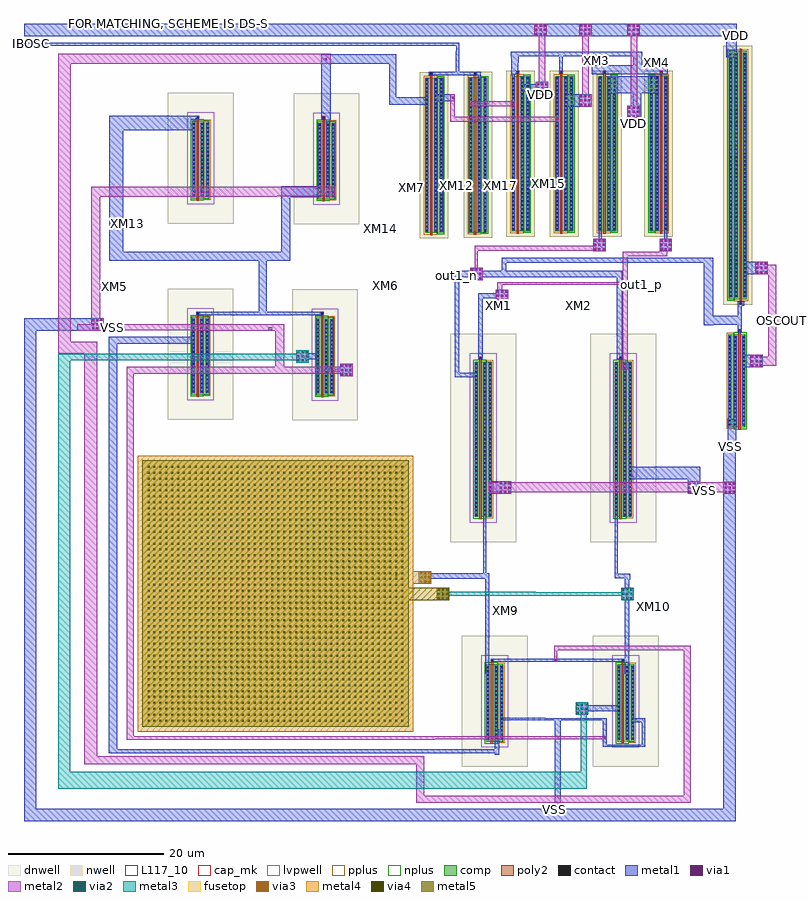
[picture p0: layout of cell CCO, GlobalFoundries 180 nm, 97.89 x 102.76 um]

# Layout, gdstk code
from math import pi, radians
import gdstk
lib = gdstk.Library(unit=1e-6, precision=1e-09)
def R(c, l, rs):  # rectangles x0, y0, x1, y1
    for r in rs: c.add(gdstk.rectangle(r[:2], r[2:], *l))
def A(c, l, x, y, w, h, nx, ny, dx, dy):  # array of equal rectangles
    R(c, l, [(x+i*dx, y+j*dy, x+i*dx+w, y+j*dy+h) for i in range(nx) for j in range(ny)])
def P(c, l, *ps):  # polygons
    for p in ps: c.add(gdstk.Polygon(p, *l))
dnwell = (12, 0)
nwell = (21, 0)
comp = (22, 0)
poly2 = (30, 0)
pplus = (31, 0)
nplus = (32, 0)
contact = (33, 0)
metal1 = (34, 0)
via1 = (35, 0)
metal2 = (36, 0)
via2 = (38, 0)
via3 = (40, 0)
via4 = (41, 0)
metal3 = (42, 0)
metal4 = (46, 0)
fusetop = (75, 0)
metal5 = (81, 0)
cap_mk = (117, 5)
L117_10 = (117, 10)
lvpwell = (204, 0)

pfet = lib.new_cell('pfet')
R(pfet, nwell, [(-1.15,-0.69,2.54,20.69)])
R(pfet, comp, [(-0.46,0,0,20), (0,0,0.66,20), (0.66,0,1.12,20), (1.12,0,1.85,20)])
R(pfet, poly2, [(0.19,-0.3,0.47,20.3), (0.14,20.3,0.52,20.68)])
R(pfet, pplus, [(-0.63,-0.24,1.12,20.24)])
R(pfet, nplus, [(1.12,-0.17,2.02,20.17)])
A(pfet, contact, -0.34, 0.2, 0.22, 0.22, 1, 39, 0, 0.51)
A(pfet, contact, 0.78, 0.2, 0.22, 0.22, 1, 39, 0, 0.51)
A(pfet, contact, 1.51, 0.2, 0.22, 0.22, 1, 39, 0, 0.51)
R(pfet, contact, [(0.22,20.38,0.44,20.6)])
R(pfet, metal1, [(-0.42,0.12,-0.04,19.88), (0.7,0.12,1.08,19.88), (1.43,0.12,1.81,19.88), (0.14,20.3,0.52,20.68)])

nfet_2 = lib.new_cell('nfet$2')
R(nfet_2, dnwell, [(-3.55,-3.26,4.92,23.63)])
R(nfet_2, comp, [(-0.42,0,0,20), (0,0,0.66,20), (0.66,0,1.08,20), (1.08,0,1.79,20)])
R(nfet_2, poly2, [(0.19,-0.3,0.47,20.3), (0.15,20.3,0.51,20.66)])
R(nfet_2, pplus, [(1.08,-0.17,1.96,20.17)])
R(nfet_2, nplus, [(-0.59,-0.24,1.08,20.24)])
A(nfet_2, contact, -0.32, 0.2, 0.22, 0.22, 1, 39, 0, 0.51)
A(nfet_2, contact, 0.76, 0.2, 0.22, 0.22, 1, 39, 0, 0.51)
A(nfet_2, contact, 1.47, 0.2, 0.22, 0.22, 1, 39, 0, 0.51)
R(nfet_2, contact, [(0.22,20.37,0.44,20.59)])
R(nfet_2, metal1, [(-0.4,0.12,-0.02,19.88), (0.68,0.12,1.06,19.88), (1.39,0.12,1.77,19.88), (0.14,20.29,0.52,20.67)])
R(nfet_2, lvpwell, [(-1.04,-0.75,2.41,21.12)])

nfet_3 = lib.new_cell('nfet$3')
R(nfet_3, dnwell, [(-3.55,-3.26,4.92,13.63)])
R(nfet_3, comp, [(-0.42,0,0,10), (0,0,0.66,10), (0.66,0,1.08,10), (1.08,0,1.79,10)])
R(nfet_3, poly2, [(0.19,-0.3,0.47,10.3), (0.15,10.3,0.51,10.66)])
R(nfet_3, pplus, [(1.08,-0.17,1.96,10.17)])
R(nfet_3, nplus, [(-0.59,-0.24,1.08,10.24)])
A(nfet_3, contact, -0.32, 0.3, 0.22, 0.22, 1, 19, 0, 0.51)
A(nfet_3, contact, 0.76, 0.3, 0.22, 0.22, 1, 19, 0, 0.51)
A(nfet_3, contact, 1.47, 0.3, 0.22, 0.22, 1, 19, 0, 0.51)
R(nfet_3, contact, [(0.22,10.37,0.44,10.59)])
R(nfet_3, metal1, [(-0.4,0.22,-0.02,9.78), (0.68,0.22,1.06,9.78), (1.39,0.22,1.77,9.78), (0.14,10.29,0.52,10.67)])
R(nfet_3, lvpwell, [(-1.04,-0.75,2.41,11.12)])

text = lib.new_cell('TEXT')

cap_mim = lib.new_cell('cap_mim')
A(cap_mim, via4, 0.69, 0.69, 0.26, 0.26, 44, 44, 0.76, 0.76)
R(cap_mim, metal4, [(-0.6,-0.6,34.92,34.92)])
R(cap_mim, fusetop, [(0,0,34.32,34.32)])
R(cap_mim, metal5, [(0,0,34.32,34.32)])
R(cap_mim, cap_mk, [(-0.6,-0.6,34.92,34.92)])
R(cap_mim, L117_10, [(0,0,34.32,0.1)])

pfet_2 = lib.new_cell('pfet$2')
R(pfet_2, nwell, [(-1.15,-0.69,2.54,32.69)])
R(pfet_2, comp, [(-0.46,0,0,32), (0,0,0.66,32), (0.66,0,1.12,32), (1.12,0,1.85,32)])
R(pfet_2, poly2, [(0.19,-0.3,0.47,32.3), (0.14,32.3,0.52,32.68)])
R(pfet_2, pplus, [(-0.63,-0.24,1.12,32.24)])
R(pfet_2, nplus, [(1.12,-0.17,2.02,32.17)])
A(pfet_2, contact, -0.34, 0.335, 0.22, 0.22, 1, 62, 0, 0.51)
A(pfet_2, contact, 0.78, 0.335, 0.22, 0.22, 1, 62, 0, 0.51)
A(pfet_2, contact, 1.51, 0.335, 0.22, 0.22, 1, 62, 0, 0.51)
R(pfet_2, contact, [(0.22,32.38,0.44,32.6)])
R(pfet_2, metal1, [(-0.42,0.255,-0.04,31.745), (0.7,0.255,1.08,31.745), (1.43,0.255,1.81,31.745), (0.14,32.3,0.52,32.68)])

nfet = lib.new_cell('nfet')
R(nfet, comp, [(-0.42,0,0,12), (0,0,0.66,12), (0.66,0,1.08,12), (1.08,0,1.79,12)])
R(nfet, poly2, [(0.15,-0.66,0.51,-0.3), (0.19,-0.3,0.47,12.3)])
R(nfet, pplus, [(1.08,-0.17,1.96,12.17)])
R(nfet, nplus, [(-0.59,-0.24,1.08,12.24)])
A(nfet, contact, -0.32, 0.28, 0.22, 0.22, 1, 23, 0, 0.51)
A(nfet, contact, 0.76, 0.28, 0.22, 0.22, 1, 23, 0, 0.51)
A(nfet, contact, 1.47, 0.28, 0.22, 0.22, 1, 23, 0, 0.51)
R(nfet, contact, [(0.22,-0.59,0.44,-0.37)])
R(nfet, metal1, [(0.14,-0.67,0.52,-0.29), (-0.4,0.2,-0.02,11.8), (0.68,0.2,1.06,11.8), (1.39,0.2,1.77,11.8)])

via_dev = lib.new_cell('via_dev')
R(via_dev, metal1, [(0,0,1.6,1.6)])
A(via_dev, via1, 0.14, 0.14, 0.26, 0.26, 3, 3, 0.53, 0.53)
R(via_dev, metal2, [(0,0,1.6,1.6)])
A(via_dev, via2, 0.14, 0.14, 0.26, 0.26, 3, 3, 0.53, 0.53)
A(via_dev, via3, 0.14, 0.14, 0.26, 0.26, 3, 3, 0.53, 0.53)
R(via_dev, metal3, [(0,0,1.6,1.6)])
R(via_dev, metal4, [(0,0,1.6,1.6)])

via_dev_2 = lib.new_cell('via_dev$2')
A(via_dev_2, via3, 0.14, 0.14, 0.26, 0.26, 3, 3, 0.53, 0.53)
A(via_dev_2, via4, 0.14, 0.14, 0.26, 0.26, 3, 3, 0.53, 0.53)
R(via_dev_2, metal3, [(0,0,1.6,1.6)])
R(via_dev_2, metal4, [(0,0,1.6,1.6)])
R(via_dev_2, metal5, [(0,0,1.6,1.6)])

via_dev_4 = lib.new_cell('via_dev$4')
R(via_dev_4, metal1, [(0,0,1.6,1.6)])
A(via_dev_4, via1, 0.14, 0.14, 0.26, 0.26, 3, 3, 0.53, 0.53)
R(via_dev_4, metal2, [(0,0,1.6,1.6)])

via_dev_5 = lib.new_cell('via_dev$5')
R(via_dev_5, metal1, [(0,0,1.6,1.6)])
A(via_dev_5, via1, 0.14, 0.14, 0.26, 0.26, 3, 3, 0.53, 0.53)
R(via_dev_5, metal2, [(0,0,1.6,1.6)])
A(via_dev_5, via2, 0.14, 0.14, 0.26, 0.26, 3, 3, 0.53, 0.53)
R(via_dev_5, metal3, [(0,0,1.6,1.6)])

pfet_3 = lib.new_cell('pfet$3')
R(pfet_3, nwell, [(-1.15,-0.69,2.54,20.69)])
R(pfet_3, comp, [(-0.46,0,0,20), (0,0,0.66,20), (0.66,0,1.12,20), (1.12,0,1.85,20)])
R(pfet_3, poly2, [(0.14,-0.68,0.52,-0.3), (0.19,-0.3,0.47,20.3)])
R(pfet_3, pplus, [(-0.63,-0.24,1.12,20.24)])
R(pfet_3, nplus, [(1.12,-0.17,2.02,20.17)])
A(pfet_3, contact, -0.34, 0.2, 0.22, 0.22, 1, 39, 0, 0.51)
A(pfet_3, contact, 0.78, 0.2, 0.22, 0.22, 1, 39, 0, 0.51)
A(pfet_3, contact, 1.51, 0.2, 0.22, 0.22, 1, 39, 0, 0.51)
R(pfet_3, contact, [(0.22,-0.6,0.44,-0.38)])
R(pfet_3, metal1, [(0.14,-0.68,0.52,-0.3), (-0.42,0.12,-0.04,19.88), (0.7,0.12,1.08,19.88), (1.43,0.12,1.81,19.88)])

cco = lib.new_cell('CCO')
R(cco, comp, [(-6.03,9.55,-5.51,9.91)])
R(cco, metal1, [(30.9,-52.23,31.64,-40.45), (23.16,-45.12,23.73,-41.83), (-26.55,-44.95,-23.39,-44.43), (-26.55,-44.95,-25.5,-22.32), (-24.18,-44.95,8.85,-44.43), (6.64,-44.95,23.73,-44.43), (37.07,-44.13,37.56,-40.45), (37.07,-44.13,42.52,-43.84), (42.07,-44.13,42.52,-40.46), (40.72,-40.93,42.52,-40.46), (23.87,-40.67,29.69,-40.4), (29.47,-40.67,30.5,-40.45), (30.28,-40.67,33,-40.45), (32.49,-40.67,37.56,-40.45), (39.92,-34.7,40.49,-22.37), (21.955,-34.61,22.46,-22.06), (22.62,-33.16,39.85,-32.78), (-26.55,-24.33,-25.5,8.72), (40.03,-22.6,40.58,-21.85), (13.72,-22.45,22.46,-21.76), (21.67,-22.45,22.46,-21.76), (38.63,-22.37,40.58,-21.85), (38.63,-22.35,39.01,-13.31), (21.67,-22.06,22.06,-13.53), (53.14,-5.83,54.25,-1.87), (38.87,5.78,39.55,12.37), (-26.55,7.79,-15.65,8.72), (54.44,9.2,54.97,13.28), (50.085,10.18,51.29,18.87), (50.085,10.28,54.97,11.43), (-15.3,11.48,1.12,11.93), (-7.22,11.48,-6.21,18.79), (38.87,11.81,39.55,17.18), (54.44,12.72,55.27,13.28), (18.01,16.4,39.55,17.18), (24.04,16.4,24.65,18.87), (24.345,17.635,24.65,18.87), (24.04,18.25,51.29,18.87), (-7.39,18.51,-3.16,19.64), (-4.35,18.51,-3.16,28.08), (-26.5,18.52,-24.7,37.17), (-26.48,18.52,-6.49,19.64), (-7.5,18.52,-6.49,19.64), (-4.35,26.65,0.78,28.08), (-26.5,35.33,-23.42,37.17), (-24.88,35.33,-15.41,37.17), (0.81,36.65,2.05,45.09), (40.92,36.85,42.01,42.29), (9.56,38.56,14.6,39.55), (9.56,38.66,10.46,45.09), (15.34,39.06,18.01,39.92), (37.62,40.04,44.29,42.29), (26.49,40.32,29.48,41.2), (14.66,42.36,20.87,42.83), (18.14,42.36,18.58,45.48), (35.63,42.53,45.41,43.66), (40.98,42.53,42.13,45.43), (25.27,42.58,26.2,44.37), (31.44,42.59,31.93,45.43), (0.81,43.88,10.46,45.09), (25.26,44.02,26.24,45.43), (52.95,44.71,54.33,47.79), (25.19,44.81,41.4,45.43)])
P(cco, metal1, [(50.04,18.87),(50.04,18.87),(50.13,18.87),(50.13,18.87)])
R(cco, via1, [(37.24,-43.17,37.5,-42.91), (30.92,-33.105,31.18,-32.845), (10.36,-22.22,10.62,-21.96), (2.02,4.255,2.28,4.515), (20.65,4.54,20.91,4.8), (39.77,4.54,40.03,4.8), (-14.74,9.75,-14.48,10.01), (-14.05,9.75,-13.79,10.01), (36.6,25.5,36.86,25.76), (45.05,25.5,45.31,25.76), (-13.92,27.22,-13.66,27.48), (2.27,27.22,2.53,27.48), (-14.67,27.225,-14.41,27.485), (31.09,36.62,31.35,36.88), (19.97,38.575,20.23,38.835), (21.73,38.575,21.99,38.835), (25.4,38.6,25.66,38.86), (17.67,39.34,17.93,39.6), (1.23,44.31,1.49,44.57)])
R(cco, metal2, [(13.07,-51.31,48.38,-50.44), (13.07,-51.31,14.07,-45.32), (47.52,-51.31,48.38,-31.11), (-29.74,-46.36,0.9,-45.32), (-29.74,-46.36,-28.06,8.05), (-1.28,-46.36,14.07,-45.32), (-24.22,-43.23,-7.22,-42.75), (-24.22,-43.23,-23.33,-28.52), (-7.8,-43.23,15.38,-42.75), (14.39,-43.17,37.5,-42.75), (30.84,-33.16,31.235,-31.11), (30.84,-31.65,48.38,-31.11), (-24.22,-29.49,-23.33,-6.04), (22.38,-11.35,43.95,-10.04), (41.96,-11.35,53.49,-10.04), (-24.22,-6.98,-23.33,4.82), (-24.22,3.96,3.8,4.82), (-5.13,3.96,-3.99,10.34), (39.63,4.46,40.28,19.66), (56.08,5,59.39,6.13), (58.4,5,59.39,17.99), (-33.1,6.5,-28.06,8.05), (-33.1,6.5,-31.46,45.13), (-14.88,9.49,-4,10.34), (-30.64,9.5,-26,10.34), (-28.84,9.5,-27.66,28.01), (-28.84,9.5,-26,10.34), (-26.51,9.54,-14.38,10.34), (-14.88,9.76,-4,10.34), (58.4,10.54,60.41,11.495), (23.86,15.4,42.34,15.73), (20.58,16.41,20.97,20.43), (56.7,17.11,59.4,17.99), (39.63,19.07,45.37,19.66), (44.99,19.07,45.37,20.6), (20.58,19.81,37.14,20.43), (20.58,19.81,21.71,20.43), (-28.84,26.72,-22.63,28.01), (-23.25,26.72,-14.35,28.01), (-14.65,26.72,-4.9,28.01), (-5.8,26.78,2.59,28.01), (17.44,36.38,31.37,37.04), (17.44,36.41,18.01,39.92), (19.87,38.41,25.75,39.03), (-33.1,43.85,2.05,45.13)])
R(cco, metal3, [(-33.1,-49.49,-31.51,-12.77), (-33.1,-49.49,22.91,-47.31), (21.52,-49.49,35,-47.31), (34.22,-48.6,35,-39.28), (16.09,-24.68,28.45,-24.14), (27.89,-24.68,40.49,-24.195), (-33.1,-14.45,-31.51,6.5), (-33.1,4.57,-32.28,6.09), (-33.1,5.68,-1.59,6.5)])
cco.add(gdstk.FlexPath([(1.68,36),(1.68,37.8)], 0.4, ends="flush", simple_path=True, layer=34, datatype=0))  # metal1
cco.add(gdstk.FlexPath([(-14.9,37),(-15.93,37)], 0.4, ends="flush", simple_path=True, layer=34, datatype=0))  # metal1
cco.add(gdstk.FlexPath([(1.49,4.38),(4.01,4.38)], 0.4, ends="flush", simple_path=True, layer=34, datatype=0))  # metal1
cco.add(gdstk.FlexPath([(18.37,45.26),(18.37,46.4),(-37.47,46.4)], 0.4, ends="flush", simple_path=True, layer=34, datatype=0))  # metal1
cco.add(gdstk.FlexPath([(20.58,42.62),(21.18,42.62),(21.18,41.62)], 0.4, ends="flush", simple_path=True, layer=34, datatype=0))  # metal1
cco.add(gdstk.FlexPath([(25.55,41.94),(25.55,43.21)], 0.4, ends="flush", simple_path=True, layer=34, datatype=0))  # metal1
cco.add(gdstk.FlexPath([(22.57,-10.72),(24.18,-10.72)], 1.6, ends="flush", simple_path=True, layer=34, datatype=0))  # metal1
cco.add(gdstk.FlexPath([(21.32,5.78),(21.32,13.99),(24.33,13.99)], 0.6, ends="flush", simple_path=True, layer=34, datatype=0))  # metal1
cco.add(gdstk.FlexPath([(20.81,3.76),(18.31,3.76),(18.31,16.52)], 0.6, ends="flush", simple_path=True, layer=34, datatype=0))  # metal1
cco.add(gdstk.FlexPath([(39.12,-39.14),(34.37,-39.14)], 0.8, ends="flush", simple_path=True, layer=34, datatype=0))  # metal1
cco.add(gdstk.FlexPath([(-1.59,6.2),(0.4,6.2)], 0.8, ends="flush", simple_path=True, layer=34, datatype=0))  # metal1
cco.add(gdstk.FlexPath([(53.41,-5.44),(53.41,-52.92),(-36.68,-52.92),(-36.68,10.15)], 1.6, ends="flush", simple_path=True, layer=34, datatype=0))  # metal1
cco.add(gdstk.FlexPath([(-28.02,10.3),(-37.48,10.3)], 1.6, ends="flush", simple_path=True, layer=34, datatype=0))  # metal1
cco.add(gdstk.FlexPath([(45.19,23.1),(45.19,20.43)], 0.4, ends="flush", simple_path=True, layer=34, datatype=0))  # metal1
cco.add(gdstk.FlexPath([(36.72,22.88),(36.72,20.4),(36.61,20.4)], 0.4, ends="flush", simple_path=True, layer=34, datatype=0))  # metal1
cco.add(gdstk.FlexPath([(54.33,48.24),(-37.44,48.24)], 1.6, ends="flush", simple_path=True, layer=34, datatype=0))  # metal1
cco.add(gdstk.FlexPath([(32.29,39.16),(34.91,39.16)], 1.6, ends="flush", simple_path=True, layer=34, datatype=0))  # metal1
cco.add(gdstk.FlexPath([(57.49,17.58),(55.38,17.58)], 1.6, ends="flush", simple_path=True, layer=34, datatype=0))  # metal1
cco.add(gdstk.FlexPath([(56.87,5.57),(55.23,5.57)], 1.6, ends="flush", simple_path=True, layer=34, datatype=0))  # metal1
cco.add(gdstk.FlexPath([(40.58,-8.82),(48.82,-8.82),(48.82,-10.82)], 1.6, ends="flush", simple_path=True, layer=34, datatype=0))  # metal1
cco.add(gdstk.FlexPath([(14.21,-22.29),(11.04,-22.29)], 1.6, ends="flush", simple_path=True, layer=46, datatype=0))  # metal4
cco.add(gdstk.FlexPath([(16.59,-24.42),(11.04,-24.42)], 1.6, ends="flush", simple_path=True, layer=81, datatype=0))  # metal5
cco.add(gdstk.FlexPath([(23.8,15.73),(23.8,14.39)], 0.6, ends="flush", simple_path=True, layer=36, datatype=0))  # metal2
cco.add(gdstk.FlexPath([(41.1,37.69),(41.1,48.16)], 0.8, ends="flush", simple_path=True, layer=36, datatype=0))  # metal2
cco.add(gdstk.FlexPath([(34.83,39.12),(34.83,48.26)], 0.8, ends="flush", simple_path=True, layer=36, datatype=0))  # metal2
cco.add(gdstk.FlexPath([(29.25,48.23),(29.25,40.6)], 0.8, ends="flush", simple_path=True, layer=36, datatype=0))  # metal2
cco.add(gdstk.Reference(pfet, (36.95,22.29)))
cco.add(gdstk.Reference(pfet, (31.41,22.29)))
cco.add(gdstk.Reference(pfet, (25.79,22.29)))
cco.add(gdstk.Reference(pfet, (14.64,22.09)))
cco.add(gdstk.Reference(nfet_2, (20.99,-14.51)))
cco.add(gdstk.Reference(nfet_2, (39.03,-14.51)))
cco.add(gdstk.Reference(nfet_3, (-15.44,1.26)))
cco.add(gdstk.Reference(nfet_3, (0.6,1.19)))
cco.add(gdstk.Reference(nfet_3, (22.48,-43.45)))
cco.add(gdstk.Reference(nfet_3, (39.33,-43.45)))
cco.add(gdstk.Reference(text, (17.13,16.86)))
cco.add(gdstk.Reference(text, (17.56,16.62)))
cco.add(gdstk.Reference(text, (17.45,16.72)))
cco.add(gdstk.Reference(text, (17.5,16.57)))
cco.add(gdstk.Reference(text, (17.64,16.8)))
cco.add(gdstk.Reference(text, (17.55,16.85)))
cco.add(gdstk.Reference(text, (17.4,16.98)))
cco.add(gdstk.Reference(text, (18.36,16.76)))
cco.add(gdstk.Reference(text, (18.36,16.76)))
cco.add(gdstk.Reference(nfet_3, (-15.41,26.5)))
cco.add(gdstk.Reference(nfet_3, (0.8,26.43)))
cco.add(gdstk.Reference(pfet, (20.29,22.12)))
cco.add(gdstk.Reference(cap_mim, (-22.26,-41.55)))
cco.add(gdstk.Reference(pfet_2, (55.15,45.52), rotation=pi))
cco.add(gdstk.Reference(nfet, (55.01,9.02), rotation=pi))
cco.add(gdstk.Reference(via_dev, (13.39,-23.1)))
cco.add(gdstk.Reference(via_dev_2, (15.68,-25.23)))
cco.add(gdstk.Reference(via_dev_4, (56.7,16.77)))
cco.add(gdstk.Reference(via_dev_4, (56.08,4.77)))
cco.add(gdstk.Reference(via_dev_4, (48.02,-11.53)))
cco.add(gdstk.Reference(via_dev_5, (39.43,-25.22)))
cco.add(gdstk.Reference(via_dev_5, (33.58,-40)))
cco.add(gdstk.Reference(via_dev_5, (-2.4,5.38)))
cco.add(gdstk.Reference(via_dev_4, (52.62,-11.54)))
cco.add(gdstk.Reference(via_dev_4, (-28.84,9.5)))
cco.add(gdstk.Reference(pfet_3, (44.95,42.3), rotation=pi))
cco.add(gdstk.Reference(via_dev_4, (44.38,19.73)))
cco.add(gdstk.Reference(via_dev_4, (35.84,19.73)))
cco.add(gdstk.Reference(via_dev_4, (40.23,36.86)))
cco.add(gdstk.Reference(via_dev_4, (40.23,47.42)))
cco.add(gdstk.Reference(via_dev_4, (28.25,47.42)))
cco.add(gdstk.Reference(via_dev_4, (34.02,38.34)))
cco.add(gdstk.Reference(via_dev_4, (34.02,47.44)))
cco.add(gdstk.Reference(via_dev_4, (28.46,39.92)))
cco.add(gdstk.Reference(via_dev_4, (23.68,-11.52)))
cco.add(gdstk.Reference(via_dev_4, (23.29,13.17)))
cco.add(gdstk.Reference(via_dev_4, (19.98,16)))
cco.add(gdstk.Reference(via_dev_4, (3.24,3.62)))
cco.add(gdstk.Label('VDD', (40.99,36.23), layer=34, texttype=0))
cco.add(gdstk.Label('VDD', (29,39.9), layer=34, texttype=0))
cco.add(gdstk.Label('FOR MATCHING, SCHEME IS DS-SD FOR ANY TWO CONSECUTIVE TRANSISTOR PAIRS', (-18.9,49.1), layer=12, texttype=0))
cco.add(gdstk.Label('XM1', (23.7,12.73), layer=22, texttype=0))
cco.add(gdstk.Label('XM2', (33.93,12.79), layer=22, texttype=0))
cco.add(gdstk.Label('XM3', (36.31,44.23), layer=22, texttype=0))
cco.add(gdstk.Label('XM10', (43.54,-26.04), layer=22, texttype=0))
cco.add(gdstk.Label('XM9', (24.51,-26.5), layer=22, texttype=0))
cco.add(gdstk.Label('XM6', (9.02,15.28), layer=22, texttype=0))
cco.add(gdstk.Label('XM5', (-25.76,15.23), layer=22, texttype=0))
cco.add(gdstk.Label('XM13', (-24.18,23.24), layer=22, texttype=0))
cco.add(gdstk.Label('XM14', (8.47,22.69), layer=22, texttype=0))
cco.add(gdstk.Label('XM7', (12.48,27.95), layer=22, texttype=0))
cco.add(gdstk.Label('XM12', (18.29,28.14), layer=22, texttype=0))
cco.add(gdstk.Label('XM17', (23.84,28.15), layer=22, texttype=0))
cco.add(gdstk.Label('XM15', (30.09,28.48), layer=22, texttype=0))
cco.add(gdstk.Label('XM4', (43.98,44.06), layer=22, texttype=0))
cco.add(gdstk.Label('IBOSC', (-36.56,46.44), layer=34, texttype=10))
cco.add(gdstk.Label('VDD', (54.165,47.445), layer=34, texttype=10))
cco.add(gdstk.Label('VSS', (53.51,-5.47), layer=34, texttype=10))
cco.add(gdstk.Label('VSS', (30.9,-52.23), layer=34, texttype=10))
cco.add(gdstk.Label('out1_p', (42.03,15.49), layer=34, texttype=10))
cco.add(gdstk.Label('out1_n', (18.29,16.63), layer=34, texttype=10))
cco.add(gdstk.Label('OSCOUT', (60.135,10.765), layer=36, texttype=10))
cco.add(gdstk.Label('VSS', (50.125,-11.145), layer=36, texttype=10))
cco.add(gdstk.Label('VSS', (-26.13,9.92), layer=36, texttype=10))

lib.write_gds('CCO.gds')
